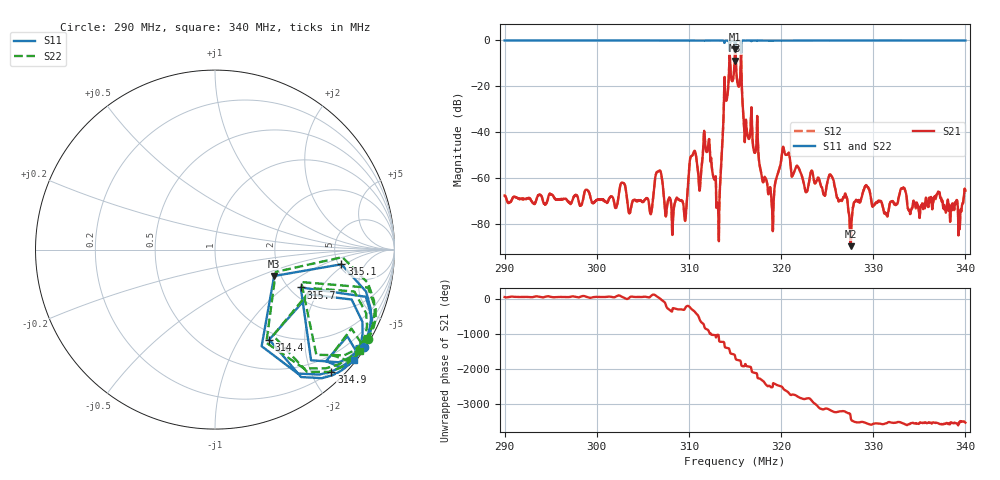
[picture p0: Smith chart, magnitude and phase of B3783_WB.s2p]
! Matrix data file written by TouchstoneData, EPCOS AG
! FILENAME: "B3783_WB.s2p"
! COMMENT: "PCB=QCC8B 2/5 UM; PORTEX1 91PS; PORTEX2 189P"
! INFO: nport=2, nfreq=1601
! DATE: "Tue Aug 21 10:48:53 2007"
! USER: "Thomas Telgmann"
! port | pin | signal
!  1  |  2  |  input
!  2  |  5  |  output
# MHZ S MA R 50
! freq  magS11 angS11  magS21 angS21  magS12 angS12  magS22 angS22
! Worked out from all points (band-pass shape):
!   1601 points, 290 MHz to 340 MHz, reference 50 ohm
!   highest |S21| = -3.87 dB at 315 MHz (marker M1); lowest = -89.6 dB at 327.6 MHz (marker M2)
!   |S21| within 3 dB of the highest: 314.4025 MHz to 314.4368 MHz (34.28 kHz wide, 0.0109 % of centre); 314.982 MHz to 315.0699 MHz (87.92 kHz wide, 0.0279 % of centre) (the widest 2 of 3)
!   lowest |S11| = -8.9 dB at 315 MHz (marker M3), VSWR 2.13, Z = 92.3 - j31.2 ohm
!   |S11| at or under -10 dB: nowhere
!   |S22| runs from -8.9 to -0.1 dB; largest |S21 - S12| = 0.0011
!   S11 on the Smith chart (normalised r, x): 290 MHz: 0.06, -3.36; 314.4 MHz: 0.89, -1.36; 314.9 MHz: 0.20, -2.32; 315.1 MHz: 5.28, -1.74; 315.7 MHz: 2.29, -1.33; 340 MHz: 0.06, -2.87
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290  0.9904 -33.2  0.0004175 58.2  0.00042 57.1  0.9892 -30.2
298.3438  0.9899 -34.2  0.0002597 76.5  0.0002579 76.5  0.9885 -31.2
305.8438  0.9895 -35.3  0.0001634 76.6  0.0001642 77.9  0.9881 -32.2
306.6875  0.9888 -35.4  0.001403 48.8  0.001398 49.1  0.9874 -32.3
309.5312  0.9892 -36.0  0.0001256 73.9  0.0001335 68.6  0.988 -32.9
310.3125  0.9878 -36.2  0.003042 69.8  0.003039 70.1  0.9859 -33.1
311.1875  0.9867 -36.4  0.0005771 123.6  0.0005827 123.7  0.9852 -33.3
311.875  0.9879 -36.6  0.003884 -133.8  0.00388 -133.7  0.9866 -33.4
313.1875  0.9885 -37.9  0.0001863 56.2  0.0001761 57.5  0.987 -34.8
314.4062  0.5856 -58.9  0.4804 -14.6  0.4798 -14.6  0.5779 -55.9
314.9062  0.9394 -46.3  0.2252 -140.7  0.2247 -140.6  0.9371 -43.2
315  0.5976 -64.2  0.5624 179.5  0.5617 179.6  0.5926 -61.1
315.0312  0.3608 -24.0  0.6405 141.1  0.6396 141.1  0.3608 -20.2
315.0625  0.709 -6.6  0.4967 104.2  0.4956 104.3  0.711 -3.4
315.6562  0.5221 -23.8  0.4824 -36.6  0.4815 -36.6  0.5136 -20.6
318.9375  0.9816 -35.1  0.0003745 4.1  0.000373 3.6  0.981 -32.0
320.3125  0.9849 -35.6  0.004117 -58.5  0.00411 -58.3  0.9831 -32.3
323.3438  0.9873 -36.2  0.001438 -22.9  0.001446 -22.7  0.9857 -33.0
327.5625  0.9891 -36.9  3.294e-05 -153.3  3.431e-05 -132.3  0.9876 -33.6
329.2188  0.9883 -37.1  0.0007064 63.5  0.0007015 63.5  0.987 -33.7
331.6875  0.9891 -37.4  0.0002084 89.6  0.0002081 92.4  0.9873 -34.1
340  0.9878 -38.4  0.000528 75.1  0.0005233 76.2  0.9861 -35.0
